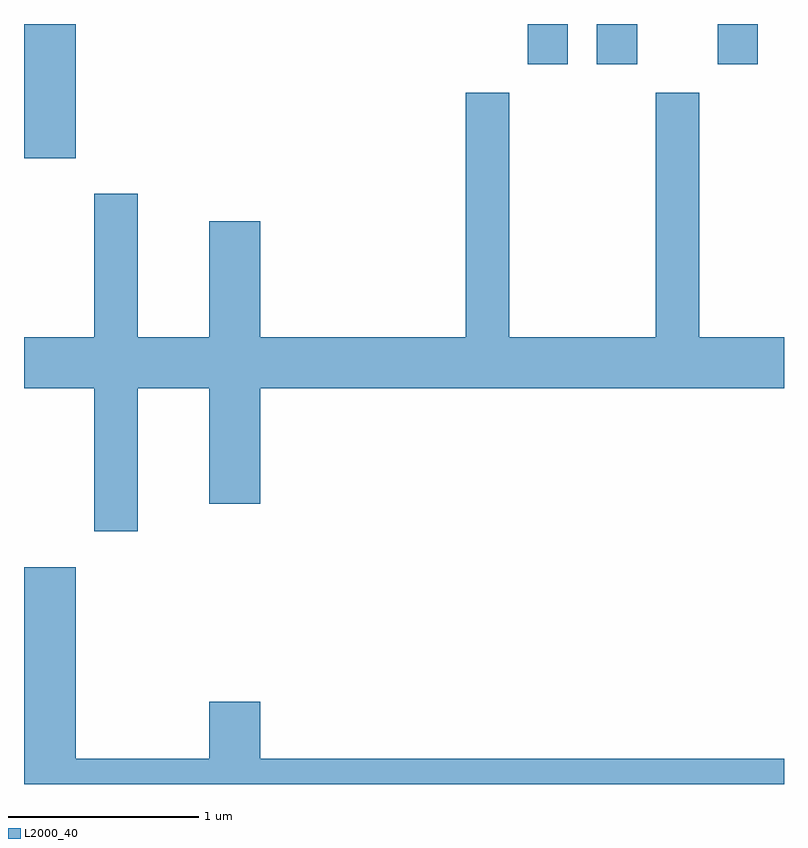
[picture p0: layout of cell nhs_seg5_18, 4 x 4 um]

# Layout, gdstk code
import gdstk
lib = gdstk.Library(unit=1e-6, precision=1e-09)
def R(c, l, rs):  # rectangles x0, y0, x1, y1
    for r in rs: c.add(gdstk.rectangle(r[:2], r[2:], *l))
def P(c, l, *ps):  # polygons
    for p in ps: c.add(gdstk.Polygon(p, *l))
L2000_40 = (2000, 40)

nhs_seg5_18 = lib.new_cell('nhs_seg5_18')
R(nhs_seg5_18, L2000_40, [(185.611,1431.366,185.884,1432.072), (188.261,1431.861,188.474,1432.072), (188.626,1431.861,188.839,1432.072), (189.261,1431.861,189.474,1432.072)])
P(nhs_seg5_18, L2000_40, [(186.209,1430.156),(186.586,1430.156),(186.586,1429.546),(186.854,1429.546),(186.854,1430.156),(189.611,1430.156),(189.611,1430.424),(189.164,1430.424),(189.164,1431.709),(188.936,1431.709),(188.936,1430.424),(188.164,1430.424),(188.164,1431.709),(187.936,1431.709),(187.936,1430.424),(186.854,1430.424),(186.854,1431.034),(186.586,1431.034),(186.586,1430.424),(186.209,1430.424),(186.209,1431.179),(185.981,1431.179),(185.981,1430.424),(185.611,1430.424),(185.611,1430.156),(185.981,1430.156),(185.981,1429.401),(186.209,1429.401)],
  [(189.611,1428.204),(186.854,1428.204),(186.854,1428.504),(186.586,1428.504),(186.586,1428.204),(185.884,1428.204),(185.884,1429.214),(185.611,1429.214),(185.611,1428.072),(189.611,1428.072)])

lib.write_gds('nhs_seg5_18.gds')
